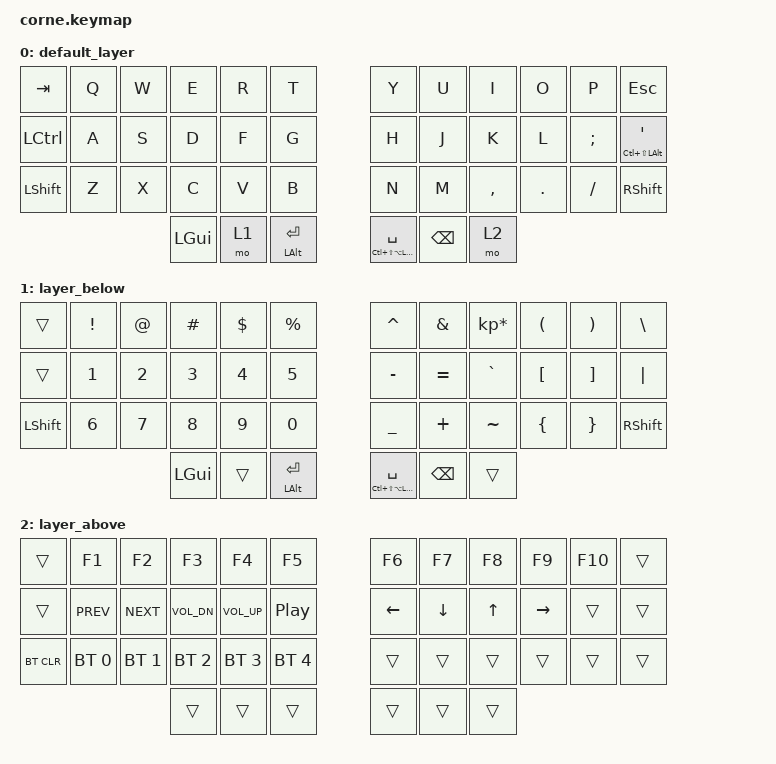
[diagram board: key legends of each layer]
/*
 * Copyright (c) 2020 The ZMK Contributors
 *
 * SPDX-License-Identifier: MIT
 */

#include <behaviors.dtsi>
#include <dt-bindings/led/led.h>
#include <dt-bindings/zmk/keys.h>
#include <dt-bindings/zmk/rgb.h>
#include <dt-bindings/zmk/bt.h>
#include <dt-bindings/zmk/outputs.h>

/*
 * Temporarily here because nice nano v2 spi is not defined on ZMk Yet
 * Source: https://github.com/zmkfirmware/zmk/blob/main/app/boards/shields/reviung41/boards/nice_nano.overlay
 * GitHub Issue: https://github.com/zmkfirmware/zmk/issues/885
 */

&spi1 {
    compatible = "nordic,nrf-spim";
    status = "okay";
    mosi-pin = <6>;

    // Unused pins, needed for SPI definition, but not used by the ws2812 driver itself.

    sck-pin = <5>;
    miso-pin = <7>;

    led_strip: ws2812@0 {
        compatible = "worldsemi,ws2812-spi";
        label = "WS2812";

        /* SPI */

        reg = <0>;/* ignored, but necessary for SPI bindings */
        spi-max-frequency = <4000000>;

        /* WS2812 */

        chain-length = <27>;/* arbitrary; change at will */
        spi-one-frame = <0x70>;
        spi-zero-frame = <0x40>;
        color-mapping = <LED_COLOR_ID_GREEN LED_COLOR_ID_RED LED_COLOR_ID_BLUE>;
    };
};

/ {
    chosen {
        zmk,underglow = &led_strip;
    };
};

/*
 * Above Temporarily here because nice nano v2 spi is not defined on ZMk Yet
 * Source: https://github.com/zmkfirmware/zmk/blob/main/app/boards/shields/reviung41/boards/nice_nano.overlay
 * GitHub Issue: https://github.com/zmkfirmware/zmk/issues/885
 */

/ {
        behaviors {
          tp: tap_preferred {
            compatible = "zmk,behavior-hold-tap";
            label = "TAP_PREFERRED";
            #binding-cells = <2>;
            tapping-term-ms = <150>;
            quick-tap-ms = <0>;
            flavor = "tap-preferred";
            bindings = <&kp>, <&kp>;
          }; 
        };

        keymap {
                compatible = "zmk,keymap";

                default_layer {
// -----------------------------------------------------------------------------------------
// | TAB  |  Q  |  W  |  E  |  R  |    T    |   |  Y  |  U   |  I  |  O  |  P  | ESC |
// | CTRL |  A  |  S  |  D  |  F  |    G    |   |  H  |  J   |  K  |  L  |  ;  |  '   |
// | SHFT |  Z  |  X  |  C  |  V  |    B    |   |  N  |  M   |  ,  |  .  |  /  | SHFT |
//                    | GUI | LWR | ALT/ENT |   | HYPER/SPC | BKSP  | RSE |
                        bindings = <
   &kp TAB   &kp Q &kp W &kp E &kp R &kp T   &kp Y &kp U  &kp I     &kp O   &kp P    &kp ESC
   &kp LCTRL &kp A &kp S &kp D &kp F &kp G   &kp H &kp J  &kp K     &kp L   &kp SEMI &tp LC(LS(LALT)) SQT
   &kp LSHFT &kp Z &kp X &kp C &kp V &kp B   &kp N &kp M  &kp COMMA &kp DOT &kp FSLH &kp RSHFT 
               &kp LGUI &mo 1 &tp LALT RET   &tp LC(LS(LA(LGUI))) SPACE &kp BSPC &mo 2
                        >;
                };

                layer_below {
// -----------------------------------------------------------------------------------------
// |      |  !  |  @  |  #  |  $  |    %     |   |  ^  |  &  |  *  |  (  |  )  |   \   |
// |      |  1  |  2  |  3  |  4  |    5     |   |  -  |  =  |  `  |  [  |  ]  |  "|"  |
// | SHFT |  6  |  7  |  8  |  9  |    0     |   |  _  |  +  |  ~  |  {  |  }  | RSHFT |
//                     | GUI |     | ALT/ENT |   | HYPER/SPACE | BKSP |    |
                        bindings = <
   &trans    &kp EXCL &kp AT &kp HASH &kp DLLR &kp PRCNT   &kp CARET  &kp AMPS  &kp KP_MULTIPLY &kp LPAR &kp RPAR &kp BSLH
   &trans    &kp N1   &kp N2 &kp N3   &kp N4   &kp N5      &kp MINUS  &kp EQUAL &kp GRAVE       &kp LBKT &kp RBKT &kp PIPE
   &kp LSHFT &kp N6   &kp N7 &kp N8   &kp N9   &kp N0      &kp UNDER  &kp PLUS  &kp TILDE       &kp LBRC &kp RBRC &kp RSHFT
                         &kp LGUI &trans  &tp LALT RET     &tp LC(LS(LA(LGUI))) SPACE &kp BSPC  &trans
                        >;
                };

                layer_above {
// -----------------------------------------------------------------------------------------
// |       |  F1  |  F2  |  F3  |  F4  |  F5 |            |  F6  |  F7  |  F8  |  F9  |  F10  |   |
// |       | Prev | Next | Vol - | Vol + | Play/Pause |   |      | LFT | DWN |  UP | RGT |     |     |
// | BTCLR | BT1 | BT2 | BT3 | BT4 | BT5 |   |            |     |     |     |     |     |     |
//                    |     |     |    |                  |     |     |     |
                        bindings = <
   &trans     &kp F1        &kp F2       &kp F3       &kp F4       &kp F5          &kp F6   &kp F7   &kp F8 &kp F9    &kp F10 &trans
   &trans     &kp C_PREV    &kp C_NEXT   &kp C_VOL_DN &kp C_VOL_UP &kp C_PP        &kp LEFT &kp DOWN &kp UP &kp RIGHT &trans &trans
   &bt BT_CLR &bt BT_SEL 0  &bt BT_SEL 1 &bt BT_SEL 2 &bt BT_SEL 3 &bt BT_SEL 4    &trans   &trans   &trans &trans    &trans &trans
                          	                        &trans   &trans   &trans       &trans   &trans   &trans
                        >;
                };
        };
};
